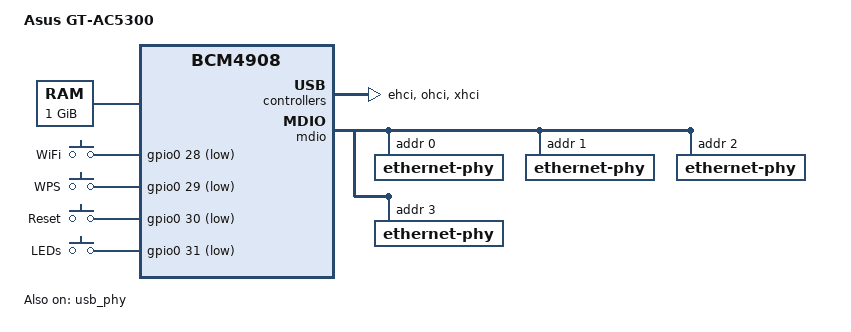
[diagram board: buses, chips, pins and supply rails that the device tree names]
// SPDX-License-Identifier: GPL-2.0-or-later OR MIT

#include <dt-bindings/gpio/gpio.h>
#include <dt-bindings/input/input.h>

#include "bcm4908.dtsi"

/ {
	compatible = "asus,gt-ac5300", "brcm,bcm4908";
	model = "Asus GT-AC5300";

	memory@0 {
		device_type = "memory";
		reg = <0x00 0x00 0x00 0x40000000>;
	};

	gpio-keys-polled {
		compatible = "gpio-keys-polled";
		poll-interval = <100>;

		key-wifi {
			label = "WiFi";
			linux,code = <KEY_RFKILL>;
			gpios = <&gpio0 28 GPIO_ACTIVE_LOW>;
		};

		key-wps {
			label = "WPS";
			linux,code = <KEY_WPS_BUTTON>;
			gpios = <&gpio0 29 GPIO_ACTIVE_LOW>;
		};

		key-restart {
			label = "Reset";
			linux,code = <KEY_RESTART>;
			gpios = <&gpio0 30 GPIO_ACTIVE_LOW>;
		};

		key-brightness {
			label = "LEDs";
			linux,code = <KEY_BRIGHTNESS_ZERO>;
			gpios = <&gpio0 31 GPIO_ACTIVE_LOW>;
		};
	};
};

&enet {
	nvmem-cells = <&base_mac_addr>;
	nvmem-cell-names = "mac-address";
};

&usb_phy {
	brcm,ioc = <1>;
	status = "okay";
};

&ehci {
	status = "okay";
};

&ohci {
	status = "okay";
};

&xhci {
	status = "okay";
};

&ports {
	port@0 {
		label = "lan2";
	};

	port@1 {
		label = "lan1";
	};

	port@2 {
		label = "lan6";
	};

	port@3 {
		label = "lan5";
	};

	/* External BCM53134S switch */
	port@7 {
		label = "sw";
		reg = <7>;
		phy-mode = "rgmii";

		fixed-link {
			speed = <1000>;
			full-duplex;
		};
	};
};

&mdio {
	/* lan8 */
	ethernet-phy@0 {
		reg = <0>;
	};

	/* lan7 */
	ethernet-phy@1 {
		reg = <1>;
	};

	/* lan4 */
	ethernet-phy@2 {
		reg = <2>;
	};

	/* lan3 */
	ethernet-phy@3 {
		reg = <3>;
	};
};

&nandcs {
	nand-ecc-strength = <4>;
	nand-ecc-step-size = <512>;
	nand-on-flash-bbt;
	brcm,nand-has-wp;

	#address-cells = <1>;
	#size-cells = <0>;

	partitions {
		compatible = "brcm,bcm4908-partitions";
		#address-cells = <1>;
		#size-cells = <1>;

		partition@0 {
			compatible = "nvmem-cells";
			label = "cferom";
			reg = <0x0 0x100000>;

			#address-cells = <1>;
			#size-cells = <1>;
			ranges = <0 0x0 0x100000>;

			base_mac_addr: mac@106a0 {
				reg = <0x106a0 0x6>;
			};
		};

		partition@100000 {
			compatible = "brcm,bcm4908-firmware";
			reg = <0x100000 0x5700000>;
		};

		partition@5800000 {
			compatible = "brcm,bcm4908-firmware";
			reg = <0x5800000 0x5700000>;
		};
	};
};
